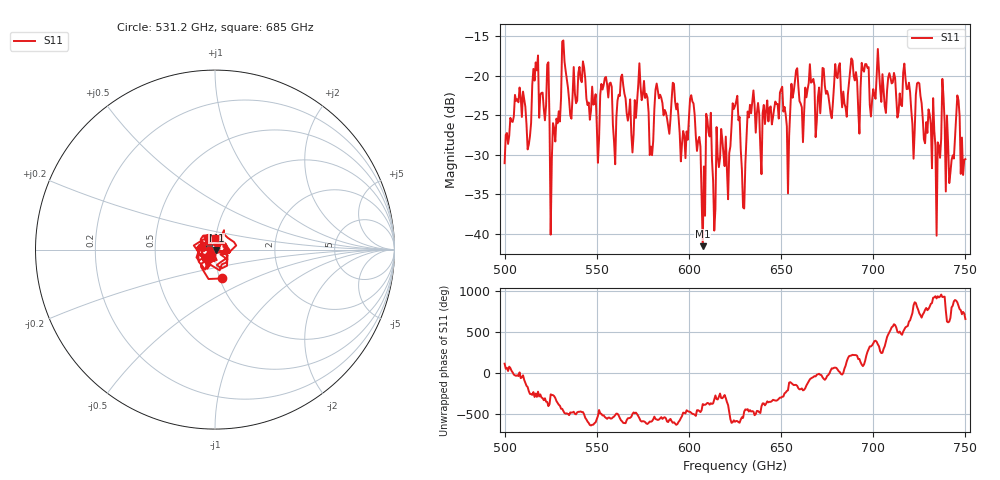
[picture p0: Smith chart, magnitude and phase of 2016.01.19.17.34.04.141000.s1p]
!Created with skrf (http://scikit-rf.org).
# GHz S RI R 50.0
!freq ReS11 ImS11
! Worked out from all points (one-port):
!   401 points, 500 GHz to 750 GHz, reference 50 ohm
!   lowest |S11| = -41.6 dB at 607.5 GHz (marker M1), VSWR 1.02, Z = 50.8 - j0.275 ohm
!   |S11| at or under -10 dB: start of sweep to end of sweep
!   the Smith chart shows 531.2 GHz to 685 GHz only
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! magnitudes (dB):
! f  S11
! 500 GHz  -31.1
! 506.9 GHz  -23.0
! 513.1 GHz  -28.7
! 516.9 GHz  -18.3
! 526.2 GHz  -26.0
! 531.2 GHz  -15.7
! 550 GHz  -26.2
! 562.5 GHz  -22.5
! 570 GHz  -27.4
! 574.4 GHz  -23.1
! 579.4 GHz  -29.0
! 583.1 GHz  -21.9
! 593.8 GHz  -23.5
! 601.9 GHz  -23.2
! 607.5 GHz  -41.6
! 610.6 GHz  -27.1
! 614.4 GHz  -36.8
! 625 GHz  -23.8
! 629.4 GHz  -36.7
! 634.4 GHz  -23.3
! 653.8 GHz  -34.9
! 656.2 GHz  -22.8
! 687.5 GHz  -19.4
! 718.8 GHz  -21.6
! 735 GHz  -28.4
! 742.5 GHz  -30.7
! 745.6 GHz  -22.5
! 750 GHz  -30.5
